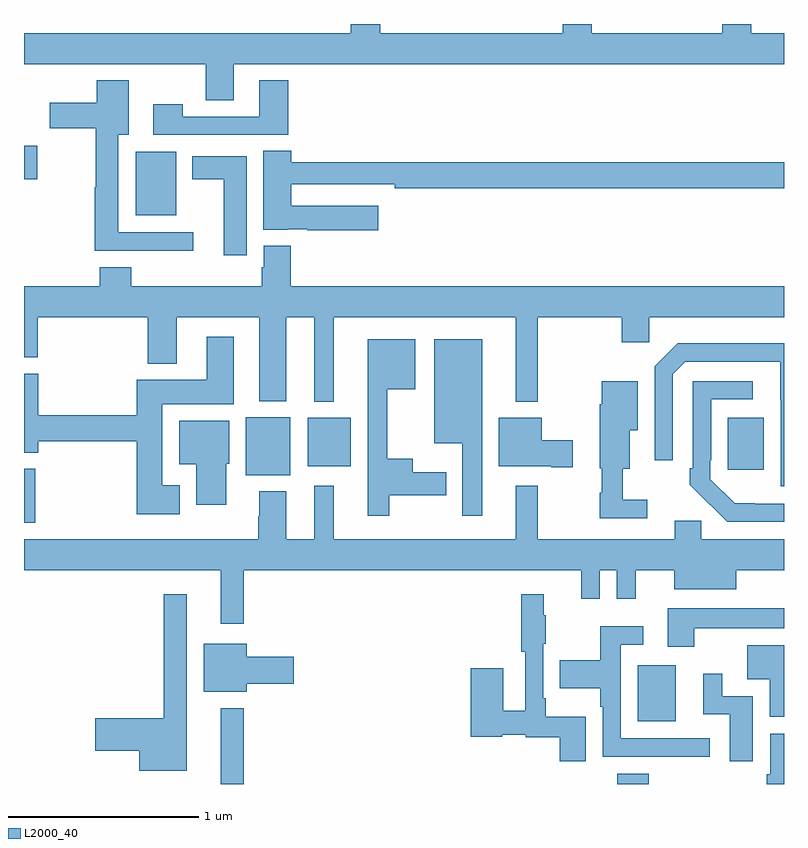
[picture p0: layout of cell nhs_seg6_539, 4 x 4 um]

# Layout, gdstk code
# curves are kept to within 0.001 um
import gdstk
lib = gdstk.Library(unit=1e-6, precision=1e-09)
def R(c, l, rs):  # rectangles x0, y0, x1, y1
    for r in rs: c.add(gdstk.rectangle(r[:2], r[2:], *l))
def P(c, l, *ps):  # polygons
    for p in ps: c.add(gdstk.Polygon(p, *l))
L2000_40 = (2000, 40)

nhs_seg6_539 = lib.new_cell('nhs_seg6_539')
R(nhs_seg6_539, L2000_40, [(144.035,991.5,144.157,991.9), (146.123,991.5,146.288,991.555), (146.231,991.829,146.431,992.125), (143,992.874,143.06,993.159), (144.167,993.125,144.4,993.43), (146.705,993.153,146.893,993.427), (144.494,993.173,144.721,993.427), (143.588,994.493,143.8,994.828), (143,994.682,143.071,994.86)])
P(nhs_seg6_539, L2000_40, [(144.103,995.288),(147,995.288),(147,995.452),(146.827,995.452),(146.827,995.5),(146.675,995.5),(146.675,995.452),(145.988,995.452),(145.988,995.5),(145.835,995.5),(145.835,995.452),(144.875,995.452),(144.875,995.5),(144.719,995.5),(144.719,995.452),(143,995.452),(143,995.288),(143.956,995.288),(143.956,995.098),(144.103,995.098)],
  [(143.89,994.404),(143.497,994.404),(143.497,994.916),(143.551,994.916),(143.551,995.203),(143.384,995.203),(143.384,995.086),(143.136,995.086),(143.136,994.952),(143.377,994.952),(143.377,994.64),(143.372,994.64),(143.372,994.307),(143.89,994.307)],
  [(144.392,995.203),(144.239,995.203),(144.239,995.013),(143.835,995.013),(143.835,995.077),(143.679,995.077),(143.679,994.917),(144.392,994.917)],
  [(144.865,994.543),(144.407,994.543),(144.407,994.656),(144.952,994.656),(144.952,994.636),(147,994.636),(147,994.772),(144.407,994.772),(144.407,994.832),(144.26,994.832),(144.26,994.418),(144.39,994.418),(144.39,994.421),(144.49,994.421),(144.49,994.414),(144.865,994.414)],
  [(144.172,994.804),(143.885,994.804),(143.885,994.682),(144.05,994.682),(144.05,994.284),(144.172,994.284)],
  [(144.631,993.956),(145.589,993.956),(145.589,993.512),(145.703,993.512),(145.703,993.956),(146.146,993.956),(146.146,993.825),(146.292,993.825),(146.292,993.956),(147,993.956),(147,994.12),(144.404,994.12),(144.404,994.333),(144.263,994.333),(144.263,994.221),(144.251,994.221),(144.251,994.12),(143.564,994.12),(143.564,994.219),(143.399,994.219),(143.399,994.12),(143,994.12),(143,993.745),(143.072,993.745),(143.072,993.956),(143.651,993.956),(143.651,993.713),(143.803,993.713),(143.803,993.956),(144.239,993.956),(144.239,993.515),(144.379,993.515),(144.379,993.956),(144.527,993.956),(144.527,993.512),(144.631,993.512)],
  [(143.821,993.073),(143.728,993.073),(143.728,993.5),(144.103,993.5),(144.103,993.853),(143.963,993.853),(143.963,993.628),(143.594,993.628),(143.594,993.44),(143.075,993.44),(143.075,993.66),(143,993.66),(143,993.244),(143.075,993.244),(143.075,993.304),(143.594,993.304),(143.594,992.921),(143.821,992.921)],
  [(145.411,993.841),(145.16,993.841),(145.16,993.293),(145.307,993.293),(145.307,992.913),(145.411,992.913)],
  [(144.923,993.02),(145.222,993.02),(145.222,993.142),(145.045,993.142),(145.045,993.211),(144.913,993.211),(144.913,993.578),(145.06,993.578),(145.06,993.841),(144.809,993.841),(144.809,992.913),(144.923,992.913)],
  [(147,993.82),(146.44,993.82),(146.319,993.699),(146.319,993.204),(146.415,993.204),(146.415,993.657),(146.481,993.723),(146.981,993.723),(146.981,993.523),(146.982,993.523),(146.982,993.066),(147,993.066)],
  [(147,992.976),(146.742,992.977),(146.613,993.105),(146.613,993.205),(146.616,993.205),(146.616,993.525),(146.836,993.525),(146.836,993.621),(146.52,993.621),(146.52,993.163),(146.505,993.163),(146.505,993.075),(146.702,992.88),(147,992.88)],
  [(146.281,992.995),(146.152,992.995),(146.152,993.158),(146.188,993.158),(146.188,993.362),(146.23,993.362),(146.23,993.619),(146.042,993.619),(146.042,993.498),(146.03,993.498),(146.03,993.162),(146.042,993.162),(146.042,993.032),(146.031,993.032),(146.031,992.898),(146.281,992.898)],
  [(145.888,993.308),(145.726,993.308),(145.726,993.427),(145.499,993.427),(145.499,993.173),(145.775,993.173),(145.775,993.166),(145.888,993.166)],
  [(144.064,993.186),(144.079,993.186),(144.079,993.412),(143.816,993.412),(143.816,993.182),(143.906,993.182),(143.906,992.97),(144.064,992.97)],
  [(144.157,992.624),(145.934,992.624),(145.934,992.475),(146.031,992.475),(146.031,992.624),(146.121,992.624),(146.121,992.475),(146.219,992.475),(146.219,992.624),(146.423,992.624),(146.423,992.525),(146.749,992.525),(146.749,992.624),(147,992.624),(147,992.788),(146.565,992.788),(146.565,992.886),(146.426,992.886),(146.426,992.788),(145.703,992.788),(145.703,993.07),(145.589,993.07),(145.589,992.788),(144.631,992.788),(144.631,993.07),(144.527,993.07),(144.527,992.788),(144.379,992.788),(144.379,993.04),(144.239,993.04),(144.239,992.909),(144.232,992.909),(144.232,992.788),(143,992.788),(143,992.624),(144.035,992.624),(144.035,992.343),(144.157,992.343)],
  [(143.857,992.5),(143.736,992.5),(143.736,991.847),(143.376,991.847),(143.376,991.676),(143.606,991.676),(143.606,991.571),(143.857,991.571)],
  [(145.957,991.855),(145.747,991.855),(145.747,991.951),(145.734,991.951),(145.734,992.239),(145.747,992.239),(145.747,992.387),(145.736,992.387),(145.736,992.5),(145.618,992.5),(145.618,992.197),(145.638,992.197),(145.638,991.886),(145.522,991.886),(145.522,992.11),(145.352,992.11),(145.352,991.75),(145.518,991.75),(145.518,991.758),(145.641,991.758),(145.641,991.746),(145.819,991.746),(145.819,991.62),(145.957,991.62)],
  [(146.527,992.321),(147,992.321),(147,992.425),(146.387,992.425),(146.387,992.223),(146.527,992.223)],
  [(146.608,991.74),(146.142,991.74),(146.142,992.232),(146.26,992.232),(146.26,992.329),(146.034,992.329),(146.034,992.151),(145.819,992.151),(145.819,992.003),(146.034,992.003),(146.034,991.907),(146.046,991.907),(146.046,991.644),(146.371,991.644),(146.371,991.643),(146.608,991.643)],
  [(144.172,992.027),(144.421,992.027),(144.421,992.169),(144.172,992.169),(144.172,992.239),(143.945,992.239),(143.945,991.985),(144.172,991.985)],
  [(147,992.23),(146.807,992.23),(146.807,992.051),(146.924,992.051),(146.924,991.854),(147,991.854)],
  [(146.836,991.962),(146.674,991.962),(146.674,992.08),(146.576,992.08),(146.576,991.866),(146.714,991.866),(146.714,991.62),(146.836,991.62)],
  [(147,991.765),(146.928,991.765),(146.928,991.552),(146.908,991.552),(146.908,991.5),(147,991.5)])

lib.write_gds('nhs_seg6_539.gds')
